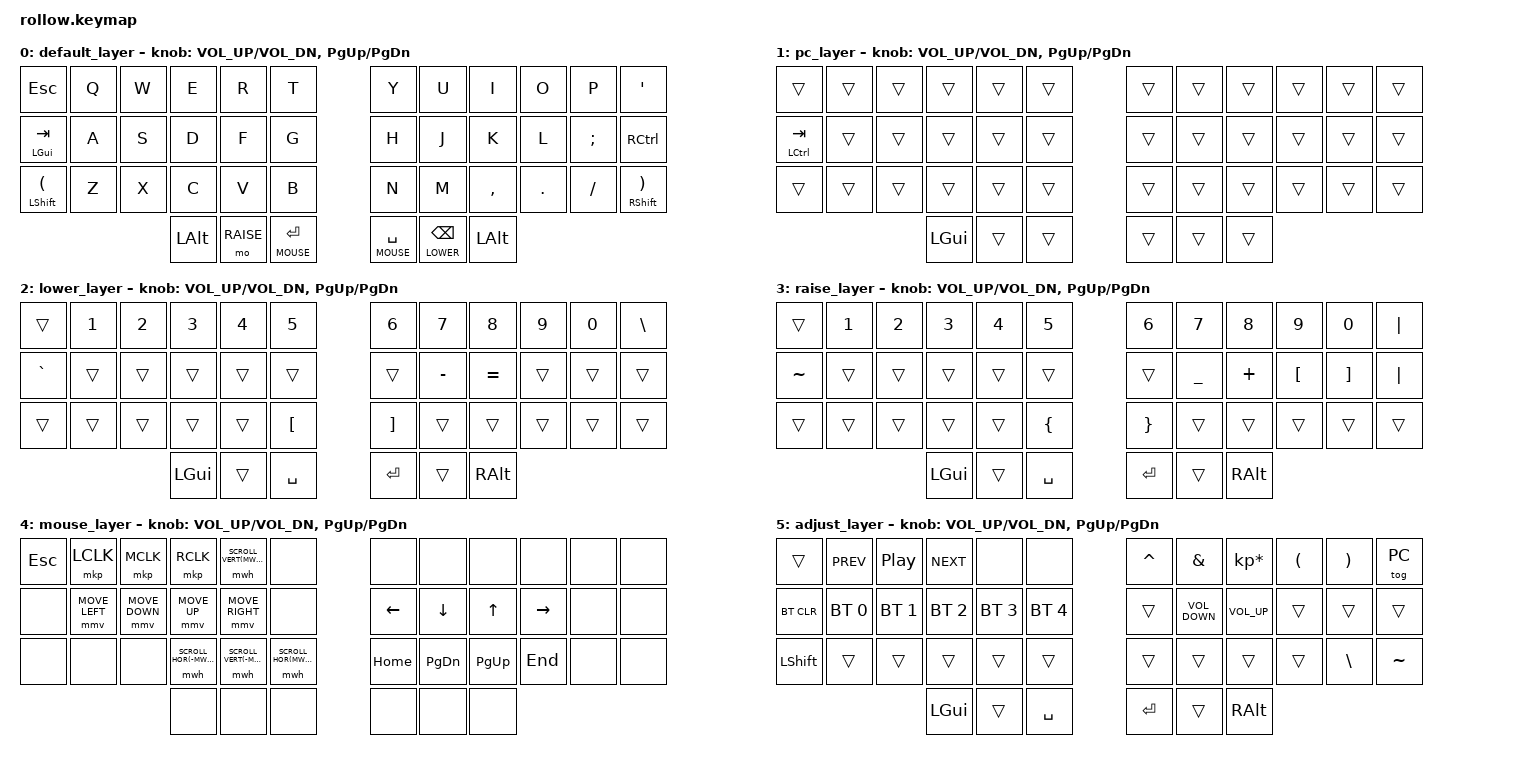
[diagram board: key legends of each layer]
/*
 * Copyright (c) 2020 The ZMK Contributors
 *
 * SPDX-License-Identifier: MIT
 */

#include <behaviors.dtsi>
#include <dt-bindings/zmk/keys.h>
#include <dt-bindings/zmk/bt.h>
#include <dt-bindings/zmk/mouse.h>
#include <dt-bindings/zmk/ext_power.h>

#define COL   0
#define COLL  1
#define COLR  2

#define DEF     0
#define PC      1
#define LOWER   2
#define RAISE   3
#define MOUSE   4
#define ADJUST  5

#define MW_DIST 35

/ {
       behaviors {
            tp: tap_mods {
                compatible = "zmk,behavior-hold-tap";
                label = "TAP_MODS";
                tapping-term-ms = <175>;
                quick-tap-ms = <250>;
                flavor = "hold-preferred";
                #binding-cells = <2>;
                bindings = <&kp>, <&kp>;
            };

            tl: layer_tap {
                compatible = "zmk,behavior-hold-tap";
                label = "LAYER_TAP";
                tapping-term-ms = <175>;
                quick-tap-ms = <250>;
                flavor = "tap-preferred";
                #binding-cells = <2>;
                bindings = <&mo>, <&kp>;
            };

            mmv: behavior_mouse_move {
                compatible = "zmk,behavior-mouse-move";
                label = "MOUSE_MOVE";
                #binding-cells = <1>;
                delay-ms = <0>;
                time-to-max-speed-ms = <200>;
                acceleration-exponent = <2>;
            };

            mwh: behavior_mouse_scroll {
                compatible = "zmk,behavior-mouse-scroll";
                label = "MOUSE_SCROLL";
                #binding-cells = <1>;
                delay-ms = <0>;
                time-to-max-speed-ms = <200>;
                acceleration-exponent = <2>;
            };
        };

        conditional_layers {
            compatible = "zmk,conditional-layers";
            tri_layer {
                if-layers = <LOWER RAISE>;
                then-layer = <ADJUST>;
            };
        };

        keymap {
                compatible = "zmk,keymap";

                default_layer {
/* Default
 * .-----------------------------------------.                    .-----------------------------------------.
 * | TAB  |   Q  |   W  |   E  |   R  |   T  |                    |   Y  |   U  |   I  |   O  |   P  | BKSP |
 * |------+------+------+------+------+------|                    |------+------+------+------+------+------|
 * | CTRL |   A  |   S  |   D  |   F  |   G  |                    |   H  |   J  |   K  |   L  |   ;  |   '  |
 * |------+------+------+------+------+------|                    |------+------+------+------+------+------|
 * | SHFT |   Z  |   X  |   C  |   V  |   B  |-------.    .-------|   N  |   M  |   ,  |   .  |   /  | SHFT |
 * '-----------------------------------------/       /     \      \-----------------------------------------'
 *                          |  GUI |  LWR | / Space /       \ Space\  |TT(RS)| Tab  |
 *                          |      |      |/       /         \      \ |      |      |
 *                          '-------------''------'           '------''-------------'
 *
 *   Encoder Left: Up <-> Down
 *   Encoder Right: Left <-> Right
 */
                        bindings = <
   &kp ESC   &kp Q &kp W &kp E &kp R &kp T   &kp Y &kp U  &kp I     &kp O   &kp P    &kp SQT
   &tp LGUI TAB   &kp A &kp S &kp D &kp F &kp G   &kp H &kp J  &kp K     &kp L   &kp SEMI &kp RCTRL
   &tp LSHFT LPAR &kp Z &kp X &kp C &kp V &kp B   &kp N &kp M  &kp COMMA &kp DOT &kp FSLH &tp RSHFT RPAR
                    &kp LALT &mo RAISE &tl MOUSE RET   &tl MOUSE SPACE &tl LOWER BSPC &kp LALT
                        >;

                        sensor-bindings = <&inc_dec_kp C_VOL_UP C_VOL_DN &inc_dec_kp PG_UP PG_DN>;
                };

                pc_layer {
/* PC
 * This is just a tiny overlay that changes a couple mods
 */
                        bindings = <
    &trans        &trans &trans &trans  &trans &trans &trans &trans &trans &trans &trans &trans
    &mt LCTRL TAB &trans &trans &trans  &trans &trans &trans &trans &trans &trans &trans &trans
    &trans        &trans &trans &trans  &trans &trans &trans &trans &trans &trans &trans &trans
                                &kp LGUI  &trans &trans &trans &trans &trans
                        >;
   
                        sensor-bindings = <&inc_dec_kp C_VOL_UP C_VOL_DN &inc_dec_kp PG_UP PG_DN>;
                };

                lower_layer {
/* LOWER
 * .-----------------------------------------.                    .-----------------------------------------.
 * |  ESC |   1  |  2   |  3   |  4   |  5   |                    |   6  |   7  |   8  |   9  |   0  | BKSP |
 * |------+------+------+------+------+------|                    |------+------+------+------+------+------|
 * | BTCLR| BT1  | BT2  | BT3  | BT4  | BT5  |                    |  LFT |  DWN |   UP |  RGT |      |      |
 * |------+------+------+------+------+------|                    |------+------+------+------+------+------|
 * | SHFT |      |      |      |      |      |-------.    .-------|      |      |      |      |      |      |
 * '-----------------------------------------/       /     \      \-----------------------------------------'
 *                          |  GUI |      | / Space /       \ Enter\  |      |  ALT |
 *                          |      |      |/       /         \      \ |      |      |
 *                          '-------------''------'           '------''-------------'
 * 
 *   Encoder Left: PG_UP <-> PG_DN
 *   Encoder Right: -
 */
                        bindings = <
   &trans    &kp N1       &kp N2       &kp N3       &kp N4       &kp N5            &kp N6   &kp N7   &kp N8 &kp N9    &kp N0 &kp BSLH 
   &kp GRAVE &trans  &trans  &trans  &trans &trans      &trans &kp MINUS &kp EQUAL &trans &trans &trans
   &trans  &trans       &trans       &trans       &trans       &kp LBKT            &kp RBKT   &trans   &trans &trans    &trans &trans
                                        &kp LGUI     &trans       &kp SPACE         &kp RET &trans &kp RALT
                            >;

                            sensor-bindings = <&inc_dec_kp C_VOL_UP C_VOL_DN &inc_dec_kp PG_UP PG_DN>;
                };

                raise_layer {
/* RAISE
 * .-----------------------------------------.                    .-----------------------------------------.
 * | ESC  |   !  |   @  |   #  |   $  |   %  |                    |   ^  |   &  |   *  |   (  |   )  | BKSP |
 * |------+------+------+------+------+------|                    |------+------+------+------+------+------|
 * | CTRL |      |      | Prev | Next |      |                    |   -  |   =  |   {  |   }  |  "|" |   `  |
 * |------+------+------+------+------+------|                    |------+------+------+------+------+------|
 * | SHFT |      |      |      |      |      |-------.    .-------|   _  |   +  |   [  |   ]  |   \  |   ~  |
 * '-----------------------------------------/       /     \      \-----------------------------------------'
 *                          | Play |      | / Space /       \ Enter\  |      |  ALT |
 *                          | Paus |      |/       /         \      \ |      |      |
 *                          '------------''------'            '------''-------------'
 *
 *   Encoder Left: -
 *   Encoder Right: VOL_UP <-> VOL_D
 */
                        bindings = <
    &trans  &kp N1       &kp N2       &kp N3       &kp N4       &kp N5            &kp N6   &kp N7   &kp N8 &kp N9    &kp N0 &kp PIPE
    &kp TILDE &trans    &trans  &trans &trans &trans      &trans &kp UNDER &kp PLUS &kp LBKT        &kp RBKT &kp PIPE
    &trans &trans    &trans  &trans     &trans     &kp LBRC      &kp RBRC    &trans    &trans          &trans   &trans &trans
                                   &kp LGUI &trans &kp SPACE   &kp RET &trans &kp RALT
                        >;
   
                        sensor-bindings = <&inc_dec_kp C_VOL_UP C_VOL_DN &inc_dec_kp PG_UP PG_DN>;
                };

                mouse_layer {
/* MOUSE
 */
                        bindings = <
    &kp ESC &mkp LCLK      &mkp MCLK      &mkp RCLK        &mwh SCROLL_VERT(MW_DIST)  &none             &none    &none     &none     &none     &none &none 
    &none   &mmv MOVE_LEFT &mmv MOVE_DOWN &mmv MOVE_UP     &mmv MOVE_RIGHT  &none             &kp LEFT &kp DOWN  &kp UP    &kp RIGHT &none &none
    &none   &none          &none          &mwh SCROLL_HOR(-MW_DIST) &mwh SCROLL_VERT(-MW_DIST) &mwh SCROLL_HOR(MW_DIST) &kp HOME &kp PG_DN &kp PG_UP &kp END   &none &none
                                          &none            &none            &none             &none    &none     &none 
                        >;
   
                        sensor-bindings = <&inc_dec_kp C_VOL_UP C_VOL_DN &inc_dec_kp PG_UP PG_DN>;
                };

                adjust_layer {
/* ADJUST
 * .-----------------------------------------.                    .-----------------------------------------.
 * | ESC  |   !  |   @  |   #  |   $  |   %  |                    |   ^  |   &  |   *  |   (  |   )  | BKSP |
 * |------+------+------+------+------+------|                    |------+------+------+------+------+------|
 * | CTRL |      |      | Prev | Next |      |                    |   -  |   =  |   {  |   }  |  "|" |   `  |
 * |------+------+------+------+------+------|                    |------+------+------+------+------+------|
 * | SHFT |      |      |      |      |      |-------.    .-------|   _  |   +  |   [  |   ]  |   \  |   ~  |
 * '-----------------------------------------/       /     \      \-----------------------------------------'
 *                          | Play |      | / Space /       \ Enter\  |      |  ALT |
 *                          | Paus |      |/       /         \      \ |      |      |
 *                          '------------''------'            '------''-------------'
 *
 *   Encoder Left: -
 *   Encoder Right: VOL_UP <-> VOL_D
 */
                        bindings = <
    &trans  &kp C_PREV  &kp C_PP  &kp C_NEXT   &none   &none   &kp CARET &kp AMPS  &kp KP_MULTIPLY &kp LPAR &kp RPAR &tog PC
    &bt BT_CLR &bt BT_SEL 0 &bt BT_SEL 1 &bt BT_SEL 2 &bt BT_SEL 3 &bt BT_SEL 4     &trans &kp C_VOLUME_DOWN &kp C_VOLUME_UP &trans &trans &trans 
    &kp LSHFT &trans    &trans  &trans     &trans     &trans      &trans    &trans    &trans          &trans   &kp BSLH &kp TILDE
                                   &kp LGUI &trans &kp SPACE   &kp RET &trans &kp RALT
                        >;
   
                        sensor-bindings = <&inc_dec_kp C_VOL_UP C_VOL_DN &inc_dec_kp PG_UP PG_DN>;
                };

        };
};
